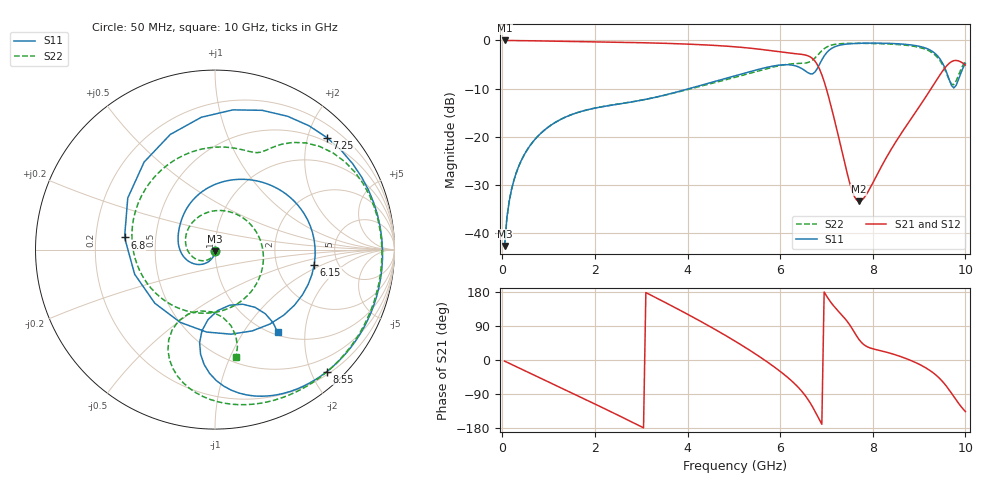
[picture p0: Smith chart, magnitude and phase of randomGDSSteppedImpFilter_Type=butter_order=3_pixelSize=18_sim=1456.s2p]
! freq	dB(S11)	phase(S11)	dB(S12)	phase(S12)
!  dB(S21)	phase(S21)	dB(S22)	phase(S22)
!S-par simulation data
#  GHz  S  DB  R 50
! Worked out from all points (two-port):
!   200 points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, 50 MHz to 10 GHz, reference 50 ohm
!   highest |S21| = -0.01 dB at 50 MHz (marker M1); lowest = -33.4 dB at 7.7 GHz (marker M2)
!   |S21| within 3 dB of the highest: start of sweep to 6.528 GHz
!   lowest |S11| = -42.7 dB at 50 MHz (marker M3), VSWR 1.01, Z = 50 - j0.729 ohm
!   |S11| at or under -10 dB: start of sweep to 4.043 GHz
!   |S22| runs from -42.8 to -0.6 dB; largest |S21 - S12| = 0
!   S11 on the Smith chart (normalised r, x): 50 MHz: 1.00, -0.01; 6.15 GHz: 3.32, -0.82; 6.8 GHz: 0.33, +0.06; 7.25 GHz: 0.42, +2.35; 8.55 GHz: 0.25, -2.25; 10 GHz: 1.05, -1.45
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0.05  -42.74 -86.6  -0.01 -2.9  -0.01 -2.9  -42.76 -87.5
0.2  -30.96 -99.2  -0.02 -11.7  -0.02 -11.7  -30.98 -102.8
0.5  -23.32 -115.0  -0.06 -29.1  -0.06 -29.1  -23.34 -124.3
1.75  -14.64 -171.6  -0.27 -101.5  -0.27 -101.5  -14.63 146.6
2.65  -13.02 155.9  -0.41 -154.7  -0.41 -154.7  -13.00 73.0
3.4  -11.61 131.7  -0.57 159.2  -0.57 159.2  -11.63 5.6
4.25  -9.44 100.0  -0.87 104.2  -0.87 104.2  -9.60 -72.2
5.05  -7.29 64.5  -1.35 48.0  -1.35 48.0  -7.61 -149.1
5.6  -5.85 34.9  -1.89 5.1  -1.89 5.1  -6.15 154.2
6.15  -5.05 -8.7  -2.58 -44.7  -2.58 -44.7  -4.98 98.9
6.45  -5.76 -53.6  -2.89 -80.1  -2.89 -80.1  -4.77 74.4
6.7  -6.95 -138.3  -3.77 -123.8  -3.77 -123.8  -4.09 62.7
6.8  -5.88 172.4  -5.00 -146.4  -5.00 -146.4  -3.16 57.7
7  -2.60 95.9  -10.14 169.3  -10.14 169.3  -1.41 39.3
7.25  -1.09 45.0  -19.57 129.5  -19.57 129.5  -0.74 14.9
7.7  -0.60 0.1  -33.44 54.6  -33.44 54.6  -0.61 -18.4
8.35  -0.62 -37.8  -23.41 18.8  -23.41 18.8  -0.75 -55.4
8.55  -0.70 -47.5  -20.28 11.2  -20.28 11.2  -0.86 -65.7
9.1  -1.46 -74.9  -12.40 -17.5  -12.40 -17.5  -1.71 -94.8
9.5  -4.60 -97.8  -6.47 -55.9  -6.47 -55.9  -4.96 -117.2
9.75  -9.89 -75.3  -4.21 -96.5  -4.21 -96.5  -9.19 -92.9
10  -4.78 -52.8  -5.13 -136.0  -5.13 -136.0  -4.28 -78.9
